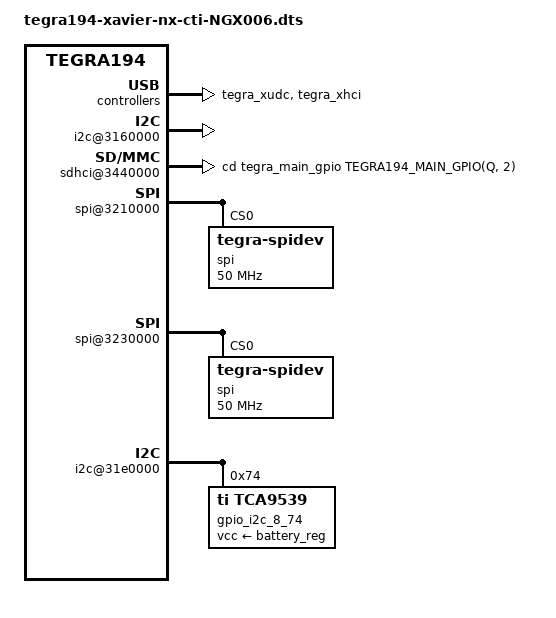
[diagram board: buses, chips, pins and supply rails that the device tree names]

/dts-v1/;
#include "tegra194-xavier-nx-cti-base.dtsi"

/ {
	nvidia,dtsfilename = "tegra194-xavier-nx-cti-NGX006.dts";
	
		clocks-init {
		compatible = "nvidia,clocks-config";
		status = "okay";
		disable {
			clocks = <&aon_clks TEGRA194_CLK_PLLAON>,
				<&bpmp_clks TEGRA194_CLK_CAN1>,
				<&bpmp_clks TEGRA194_CLK_CAN2>;
		};
	};
	
		tegra_xudc: xudc@3550000 {
		phys = <&{/xusb_padctl@3520000/pads/usb2/lanes/usb2-0}>,
				<&{/xusb_padctl@3520000/pads/usb3/lanes/usb3-2}>;
		phy-names = "usb2-0", "usb3-2";
		nvidia,xusb-padctl = <&xusb_padctl>;
		nvidia,boost_cpu_freq = <1200>;
		status = "okay";
	};

	tegra_xhci: xhci@3610000 {
		phys = <&{/xusb_padctl@3520000/pads/usb2/lanes/usb2-0}>,
			<&{/xusb_padctl@3520000/pads/usb2/lanes/usb2-1}>,
			<&{/xusb_padctl@3520000/pads/usb2/lanes/usb2-2}>,
			<&{/xusb_padctl@3520000/pads/usb3/lanes/usb3-2}>;
		phy-names = "usb2-0", "usb2-1", "usb2-2", "usb3-2";
		nvidia,xusb-padctl = <&xusb_padctl>;
		status = "okay";
	};
	mttcan@c310000 {
		status = "okay";
	};
	
	i2c@3160000 {
		status = "okay";
	};
	
	sdhci@3440000 {
		status = "okay";
        cd-gpios = <&tegra_main_gpio TEGRA194_MAIN_GPIO(Q, 2) 0>;

    };
	spi@3210000{ /* SPI1 in 40 pin conn */
		status = "okay";
		spi@0 { /* chip select 0 */
			compatible = "tegra-spidev";
			reg = <0x0>;
			spi-max-frequency = <50000000>;
			controller-data {
				nvidia,enable-hw-based-cs;
				nvidia,rx-clk-tap-delay = <0x10>;
				nvidia,tx-clk-tap-delay = <0x0>;
			};
		};
	};

	spi@3230000{ /* SPI3 in 40 pin conn */
		status = "okay";
		spi@0 { /* chip select 0 */
			compatible = "tegra-spidev";
			reg = <0x0>;
			spi-max-frequency = <50000000>;
			controller-data {
				nvidia,enable-hw-based-cs;
				nvidia,rx-clk-tap-delay = <0x10>;
				nvidia,tx-clk-tap-delay = <0x0>;
			};
		};
	};
	
	i2c@31e0000 {
        gpio_i2c_8_74: gpio@74 {
                    compatible = "ti,tca9539";
                    reg = <0x74>;
                    gpio-controller;
                    #gpio-cells = <2>;
                    #address-cells = <1>;
            		#size-cells = <0>;
                    vcc-supply = <&battery_reg>;
        };
    };

};
